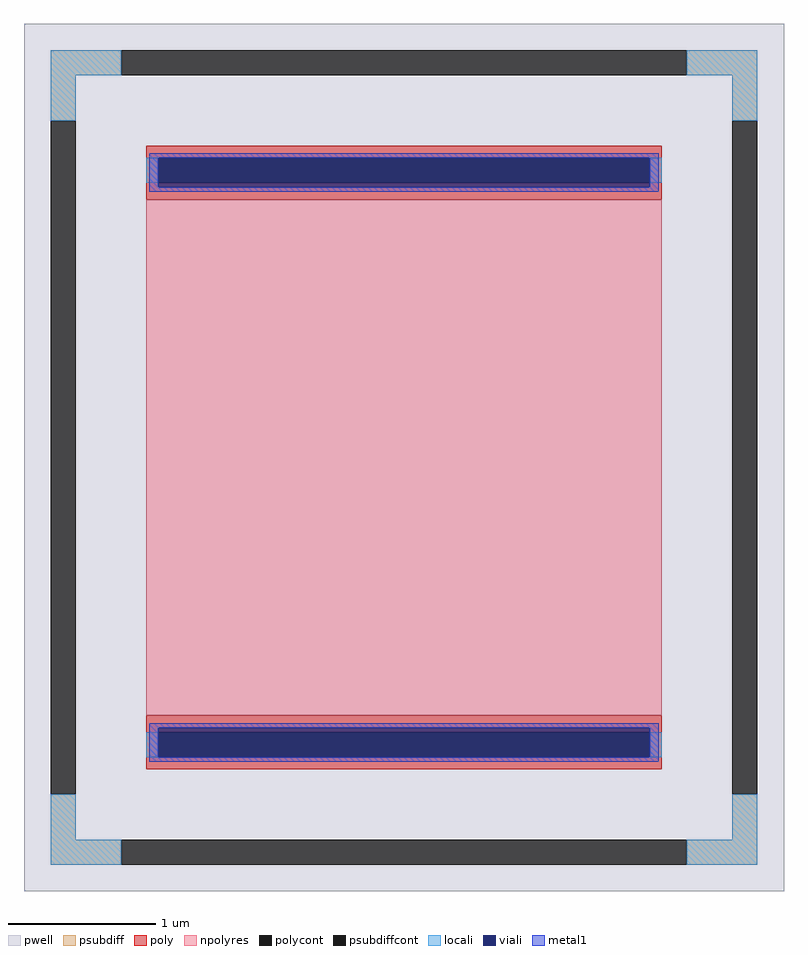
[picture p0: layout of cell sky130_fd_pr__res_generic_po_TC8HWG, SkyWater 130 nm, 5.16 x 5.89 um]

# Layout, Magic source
magic
tech sky130B
magscale 1 2
<< pwell >>
rect -516 -589 516 589
<< psubdiff >>
rect -480 519 -384 553
rect 384 519 480 553
rect -480 457 -446 519
rect 446 457 480 519
rect -480 -519 -446 -457
rect 446 -519 480 -457
rect -480 -553 -384 -519
rect 384 -553 480 -519
<< psubdiffcont >>
rect -384 519 384 553
rect -480 -457 -446 457
rect 446 -457 480 457
rect -384 -553 384 -519
<< poly >>
rect -350 407 350 423
rect -350 373 -334 407
rect 334 373 350 407
rect -350 350 350 373
rect -350 -373 350 -350
rect -350 -407 -334 -373
rect 334 -407 350 -373
rect -350 -423 350 -407
<< polycont >>
rect -334 373 334 407
rect -334 -407 334 -373
<< npolyres >>
rect -350 -350 350 350
<< locali >>
rect -480 519 -384 553
rect 384 519 480 553
rect -480 457 -446 519
rect 446 457 480 519
rect -350 373 -334 407
rect 334 373 350 407
rect -350 -407 -334 -373
rect 334 -407 350 -373
rect -480 -519 -446 -457
rect 446 -519 480 -457
rect -480 -553 -384 -519
rect 384 -553 480 -519
<< viali >>
rect -334 373 334 407
rect -334 367 334 373
rect -334 -373 334 -367
rect -334 -407 334 -373
<< metal1 >>
rect -346 407 346 413
rect -346 367 -334 407
rect 334 367 346 407
rect -346 361 346 367
rect -346 -367 346 -361
rect -346 -407 -334 -367
rect 334 -407 346 -367
rect -346 -413 346 -407
<< properties >>
string FIXED_BBOX -463 -536 463 536
string gencell sky130_fd_pr__res_generic_po
string library sky130
string parameters w 3.5 l 3.5 m 1 nx 1 wmin 0.330 lmin 1.650 rho 48.2 val 48.2 dummy 0 dw 0.0 term 0.0 sterm 0.0 caplen 0.4 snake 0 guard 1 glc 1 grc 1 gtc 1 gbc 1 roverlap 0 endcov 100 full_metal 1 hv_guard 0 n_guard 0 vias 1 viagb 0 viagt 0 viagl 0 viagr 0
<< end >>
